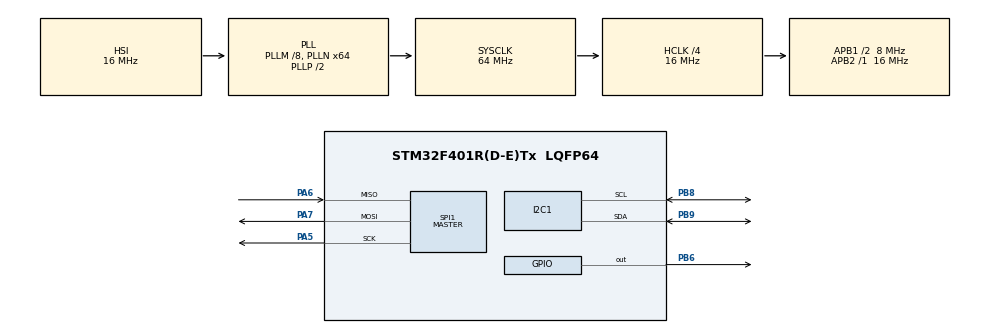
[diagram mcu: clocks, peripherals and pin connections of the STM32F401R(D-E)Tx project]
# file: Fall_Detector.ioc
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Mcu.Family=STM32F4
Mcu.Name=STM32F401R(D-E)Tx
Mcu.Package=LQFP64
NVIC.PriorityGroup=NVIC_PRIORITYGROUP_4
PA5.Mode=Full_Duplex_Master
PA5.Signal=SPI1_SCK
PA6.Mode=Full_Duplex_Master
PA6.Signal=SPI1_MISO
PA7.Mode=Full_Duplex_Master
PA7.Signal=SPI1_MOSI
PB6.Signal=GPIO_Output
PB8.Mode=I2C
PB8.Signal=I2C1_SCL
PB9.Mode=I2C
PB9.Signal=I2C1_SDA
ProjectManager.HeapSize=0x200
ProjectManager.StackSize=0x400
ProjectManager.TargetToolchain=STM32CubeIDE
RCC.48MHZClocksFreq_Value=32000000
RCC.AHBCLKDivider=RCC_SYSCLK_DIV4
RCC.AHBFreq_Value=16000000
RCC.APB1CLKDivider=RCC_HCLK_DIV2
RCC.APB1Freq_Value=8000000
RCC.APB1TimFreq_Value=16000000
RCC.APB2Freq_Value=16000000
RCC.APB2TimFreq_Value=16000000
RCC.CortexFreq_Value=16000000
RCC.HCLKFreq_Value=16000000
RCC.HSE_VALUE=25000000
RCC.HSI_VALUE=16000000
RCC.LSE_VALUE=32768
RCC.PLLM=8
RCC.PLLN=64
RCC.SYSCLKFreq_VALUE=64000000
RCC.SYSCLKSource=RCC_SYSCLKSOURCE_PLLCLK
RCC.VCOOutputFreq_Value=128000000
SPI1.CLKPhase=SPI_PHASE_2EDGE
SPI1.CLKPolarity=SPI_POLARITY_HIGH
SPI1.Direction=SPI_DIRECTION_2LINES
SPI1.Mode=SPI_MODE_MASTER
SPI1.VirtualType=VM_MASTER
board=custom

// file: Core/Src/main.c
/* USER CODE BEGIN Header */
/**
  ******************************************************************************
  * @file           : main.c
  * @brief          : Main program body
  ******************************************************************************
  * @attention
  *
  * Copyright (c) 2023 STMicroelectronics.
  * All rights reserved.
  *
  * This software is licensed under terms that can be found in the LICENSE file
  * in the root directory of this software component.
  * If no LICENSE file comes with this software, it is provided AS-IS.
  *
  ******************************************************************************
  */
/* USER CODE END Header */
#include "main.h"
#include "ssd1306.h"
#include <stdio.h>
#include "ADXL.h"
#include <stdlib.h>
#include <math.h>

I2C_HandleTypeDef hi2c1;

SPI_HandleTypeDef hspi1;

/* USER CODE BEGIN PV */

static ADXL_InitTypeDef InitInf = {.SPIMode = 0, .Range = 3, .Resolution = 1, .Rate = 8, .Justify = 0};

/* USER CODE END PV */

void SystemClock_Config(void);
static void MX_GPIO_Init(void);
static void MX_I2C1_Init(void);
static void MX_SPI1_Init(void);

int main(void)
{

  /* MCU Configuration--------------------------------------------------------*/

  /* Reset of all peripherals, Initializes the Flash interface and the Systick. */
  HAL_Init();

  /* Configure the system clock */
  SystemClock_Config();

  /* Initialize all configured peripherals */
  MX_GPIO_Init();
  MX_I2C1_Init();
  MX_SPI1_Init();
  /* USER CODE BEGIN 2 */
  ADXL_Init(&InitInf);
  ssd1306_Init();
  ssd1306_Fill(0x00);
  ssd1306_UpdateScreen();
  ssd1306_SetCursor(5,5);
  ssd1306_WriteString("Testing",Font_11x18,0x01);
  ssd1306_UpdateScreen();
  /* USER CODE END 2 */

  /* Infinite loop */
  /* USER CODE BEGIN WHILE */
  char oledOut[50];
  while (1)
  {
	int16_t data[3] = {0,0,0};
	ADXL_getAccel(data,OUTPUT_SIGNED);
	//sprintf(oledOut, "%d,%d,%d", data[0]/255,data[1]/255,data[2]/255);

	ssd1306_Fill(0x00);
	ssd1306_SetCursor(5,5);
	sprintf(oledOut, "X:%d.%d,Y:%d.%d", data[0]*100/255/100,abs(data[0]*100/255%100),data[1]*100/255/100,abs(data[1]*100/255%100));
	ssd1306_WriteString(oledOut,Font_7x10,0x01);
	int temp = (int)sqrt((data[0]*data[0]+data[1]*data[1]+data[2]*data[2])/255/255);
	sprintf(oledOut, "Z:%d.%d, Mag:%d.%d",data[2]*100/255/100,abs(data[2]*100/255%100), temp*100/100, abs(temp*100/255%100));
	ssd1306_SetCursor(5,15);
	ssd1306_WriteString(oledOut,Font_7x10,0x01);
	ssd1306_UpdateScreen();

    /* USER CODE END WHILE */

  }
}

void SystemClock_Config(void)
{
  RCC_OscInitTypeDef RCC_OscInitStruct = {0};
  RCC_ClkInitTypeDef RCC_ClkInitStruct = {0};

  /** Configure the main internal regulator output voltage
  */
  __HAL_RCC_PWR_CLK_ENABLE();
  __HAL_PWR_VOLTAGESCALING_CONFIG(PWR_REGULATOR_VOLTAGE_SCALE2);

  /** Initializes the RCC Oscillators according to the specified parameters
  * in the RCC_OscInitTypeDef structure.
  */
  RCC_OscInitStruct.OscillatorType = RCC_OSCILLATORTYPE_HSI;
  RCC_OscInitStruct.HSIState = RCC_HSI_ON;
  RCC_OscInitStruct.HSICalibrationValue = RCC_HSICALIBRATION_DEFAULT;
  RCC_OscInitStruct.PLL.PLLState = RCC_PLL_ON;
  RCC_OscInitStruct.PLL.PLLSource = RCC_PLLSOURCE_HSI;
  RCC_OscInitStruct.PLL.PLLM = 8;
  RCC_OscInitStruct.PLL.PLLN = 64;
  RCC_OscInitStruct.PLL.PLLP = RCC_PLLP_DIV2;
  RCC_OscInitStruct.PLL.PLLQ = 4;
  if (HAL_RCC_OscConfig(&RCC_OscInitStruct) != HAL_OK)
  {
    Error_Handler();
  }

  /** Initializes the CPU, AHB and APB buses clocks
  */
  RCC_ClkInitStruct.ClockType = RCC_CLOCKTYPE_HCLK|RCC_CLOCKTYPE_SYSCLK
                              |RCC_CLOCKTYPE_PCLK1|RCC_CLOCKTYPE_PCLK2;
  RCC_ClkInitStruct.SYSCLKSource = RCC_SYSCLKSOURCE_PLLCLK;
  RCC_ClkInitStruct.AHBCLKDivider = RCC_SYSCLK_DIV4;
  RCC_ClkInitStruct.APB1CLKDivider = RCC_HCLK_DIV2;
  RCC_ClkInitStruct.APB2CLKDivider = RCC_HCLK_DIV1;

  if (HAL_RCC_ClockConfig(&RCC_ClkInitStruct, FLASH_LATENCY_0) != HAL_OK)
  {
    Error_Handler();
  }
}

static void MX_I2C1_Init(void)
{

  hi2c1.Instance = I2C1;
  hi2c1.Init.ClockSpeed = 100000;
  hi2c1.Init.DutyCycle = I2C_DUTYCYCLE_2;
  hi2c1.Init.OwnAddress1 = 0;
  hi2c1.Init.AddressingMode = I2C_ADDRESSINGMODE_7BIT;
  hi2c1.Init.DualAddressMode = I2C_DUALADDRESS_DISABLE;
  hi2c1.Init.OwnAddress2 = 0;
  hi2c1.Init.GeneralCallMode = I2C_GENERALCALL_DISABLE;
  hi2c1.Init.NoStretchMode = I2C_NOSTRETCH_DISABLE;
  if (HAL_I2C_Init(&hi2c1) != HAL_OK)
  {
    Error_Handler();
  }

}

static void MX_SPI1_Init(void)
{

  /* SPI1 parameter configuration*/
  hspi1.Instance = SPI1;
  hspi1.Init.Mode = SPI_MODE_MASTER;
  hspi1.Init.Direction = SPI_DIRECTION_2LINES;
  hspi1.Init.DataSize = SPI_DATASIZE_8BIT;
  hspi1.Init.CLKPolarity = SPI_POLARITY_HIGH;
  hspi1.Init.CLKPhase = SPI_PHASE_2EDGE;
  hspi1.Init.NSS = SPI_NSS_SOFT;
  hspi1.Init.BaudRatePrescaler = SPI_BAUDRATEPRESCALER_2;
  hspi1.Init.FirstBit = SPI_FIRSTBIT_MSB;
  hspi1.Init.TIMode = SPI_TIMODE_DISABLE;
  hspi1.Init.CRCCalculation = SPI_CRCCALCULATION_DISABLE;
  hspi1.Init.CRCPolynomial = 10;
  if (HAL_SPI_Init(&hspi1) != HAL_OK)
  {
    Error_Handler();
  }

}

static void MX_GPIO_Init(void)
{
  GPIO_InitTypeDef GPIO_InitStruct = {0};

  /* GPIO Ports Clock Enable */
  __HAL_RCC_GPIOA_CLK_ENABLE();
  __HAL_RCC_GPIOB_CLK_ENABLE();

  /*Configure GPIO pin Output Level */
  HAL_GPIO_WritePin(GPIOB, GPIO_PIN_6, GPIO_PIN_RESET);

  /*Configure GPIO pin : PB6 */
  GPIO_InitStruct.Pin = GPIO_PIN_6;
  GPIO_InitStruct.Mode = GPIO_MODE_OUTPUT_PP;
  GPIO_InitStruct.Pull = GPIO_NOPULL;
  GPIO_InitStruct.Speed = GPIO_SPEED_FREQ_LOW;
  HAL_GPIO_Init(GPIOB, &GPIO_InitStruct);

}

void Error_Handler(void)
{
  __disable_irq();
  while (1)
  {
  }
}
